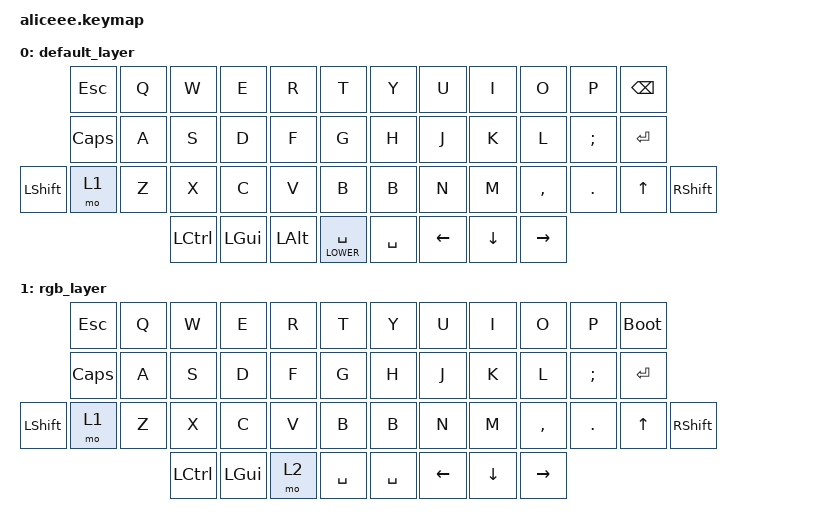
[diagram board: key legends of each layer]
/*
 * Copyright (c) 2021 Nick Winans
 *
 * SPDX-License-Identifier: MIT
 */

#include <behaviors.dtsi>
#include <dt-bindings/zmk/keys.h>
#include <dt-bindings/zmk/rgb.h>
#include <dt-bindings/zmk/bt.h>
#include <dt-bindings/zmk/outputs.h>
#include <dt-bindings/zmk/ext_power.h>
#define DEFAULT 0
#define LOWER   1
#define RAISE   2

/ {
	keymap {
		compatible = "zmk,keymap";
		default_layer {
			 bindings = <
	&kp ESC  &kp Q  &kp W  &kp E  &kp R  &kp T  &kp Y  &kp U  &kp I  &kp O  &kp P  &kp BSPC 
	&kp CLCK  &kp A  &kp S  &kp D  &kp F  &kp G  &kp H  &kp J  &kp K  &kp L  &kp SEMI &kp RET 
	&kp LSHFT   &mo 1 &kp Z  &kp X  &kp C  &kp V  &kp B &kp B &kp N  &kp M  &kp COMMA &kp DOT &kp UP  &kp RSHFT
	&kp LCTRL &kp LGUI &kp LALT    &lt LOWER SPACE      &kp SPACE  &kp LEFT  &kp DOWN   &kp RIGHT
			>;
		};
		rgb_layer {
			bindings = <
	&kp ESC  &kp Q  &kp W  &kp E  &kp R  &kp T  &kp Y  &kp U  &kp I  &kp O  &kp P  &bootloader 
	&kp CLCK  &kp A  &kp S  &kp D  &kp F  &kp G  &kp H  &kp J  &kp K  &kp L  &kp SEMI &kp RET 
	&kp LSHFT   &mo 1 &kp Z  &kp X  &kp C  &kp V  &kp B &kp B &kp N  &kp M  &kp COMMA &kp DOT &kp UP  &kp RSHFT
	&kp LCTRL &kp LGUI &mo 2             &kp SPACE                     &kp SPACE  &kp LEFT  &kp DOWN   &kp RIGHT 
			>;
		};
	};
};
